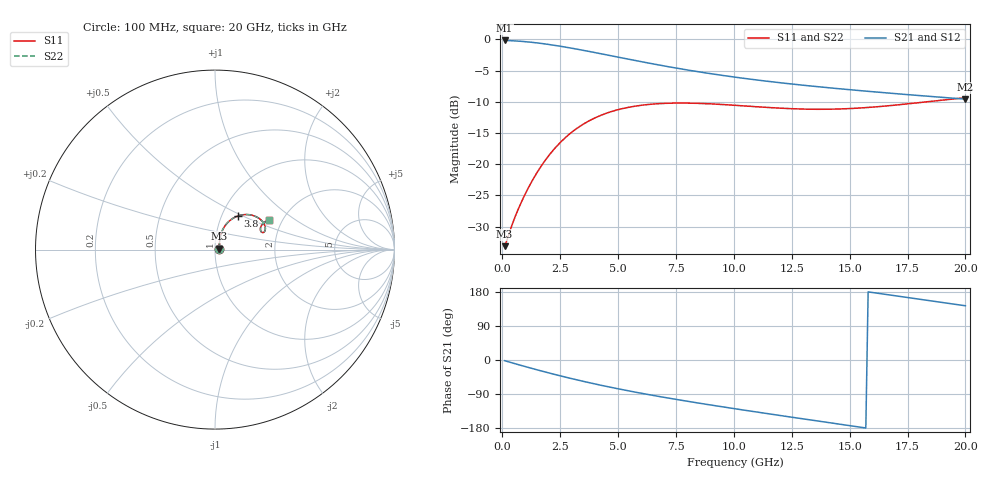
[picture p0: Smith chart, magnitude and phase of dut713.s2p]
! Touchstone file exported from HFSS 2024.1.0
!  File:  C:/UserFiles/LocalFiles/RDL_TSV_Batchsim/temp_RDL_TSV_713_1779888751.aedt
!  Generated:  09:46:50 PM May 27, 2026
!  Design:  RDL_TSV
!  Project:  temp_RDL_TSV_713_1779888751
!  Setup:  Setup1
!  Solution:  Sweep
! Variables:
!  dtsv = 6.85um
!  hbump = 3um
!  htsv = 80.6um
!  ldown = 542.19um
!  lrdl = 367.05um
!  p = 40
!  p1 = 48.83um
!  rhole = 10um
!  subl = 3094.77um
!  t = 450um
!  tdown = 2.28um
!  trdl = 3.87um
!  viad = 10um
!  wdown = 19.42um
!  wrdl = 18.57um
!  xbump = 18um
# GHz S MA R 50.000000
! Terminal data exported
! Port[1] = TM1_1_T1
! Port[2] = TM1_4_T1
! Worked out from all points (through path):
!   200 points, 100 MHz to 20 GHz, reference 50 ohm
!   highest |S21| = -0.19 dB at 100 MHz (marker M1); lowest = -9.6 dB at 20 GHz (marker M2)
!   group delay of S21, straight-line fit = 28.5 ps
!   lowest |S11| = -33.1 dB at 100 MHz (marker M3), VSWR 1.05, Z = 52.2 + j0.606 ohm
!   |S11| at or under -10 dB: start of sweep to 18.35 GHz
!   |S22| runs from -33.1 to -9.3 dB; largest |S21 - S12| = 1.1e-14
!   S11 on the Smith chart (normalised r, x): 100 MHz: 1.04, +0.01; 3.8 GHz: 1.19, +0.47; 20 GHz: 1.71, +0.63
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0.1  0.02207 15.2  0.9785 -1.8  0.9785 -1.8  0.02207 15.2
! Gamma 0 0 0 0
! Port Impedance 50 0 50 0
0.5  0.03576 47.9  0.9716 -8.9  0.9716 -8.9  0.03576 47.9
0.8  0.04866 58.4  0.9635 -14.1  0.9635 -14.1  0.04865 58.4
1.2  0.06871 65.8  0.9489 -20.9  0.9489 -20.9  0.0687 65.8
1.6  0.09172 68.7  0.9307 -27.5  0.9307 -27.5  0.0917 68.7
2  0.1167 68.9  0.9094 -34.0  0.9094 -34.0  0.1167 68.9
2.5  0.149 66.7  0.8799 -41.8  0.8799 -41.8  0.1489 66.7
3  0.1804 63.1  0.8483 -49.2  0.8483 -49.2  0.1803 63.1
3.5  0.2093 58.8  0.8157 -56.4  0.8157 -56.4  0.2092 58.8
3.8  0.225 56.0  0.796 -60.5  0.796 -60.5  0.2249 56.0
4.4  0.2521 50.5  0.7571 -68.5  0.7571 -68.5  0.252 50.6
5.1  0.2762 44.5  0.7135 -77.2  0.7135 -77.2  0.276 44.5
5.9  0.2946 38.2  0.6673 -86.6  0.6673 -86.6  0.2944 38.2
6.8  0.3055 32.3  0.6207 -96.6  0.6207 -96.6  0.3054 32.3
8.4  0.3072 24.6  0.552 -112.9  0.552 -112.9  0.307 24.6
10.1  0.2958 20.3  0.4961 -129.1  0.4961 -129.1  0.2956 20.3
11.7  0.2829 19.6  0.4554 -143.8  0.4554 -143.8  0.2828 19.7
13.4  0.2754 21.6  0.4212 -159.0  0.4212 -159.0  0.2753 21.7
15  0.2788 24.8  0.3948 -173.2  0.3948 -173.2  0.2788 24.9
16.7  0.2939 27.7  0.3708 171.8  0.3708 171.8  0.294 27.8
18.4  0.3169 29.0  0.3497 157.0  0.3497 157.0  0.3171 29.1
20  0.3407 28.6  0.332 143.1  0.332 143.1  0.3411 28.7
